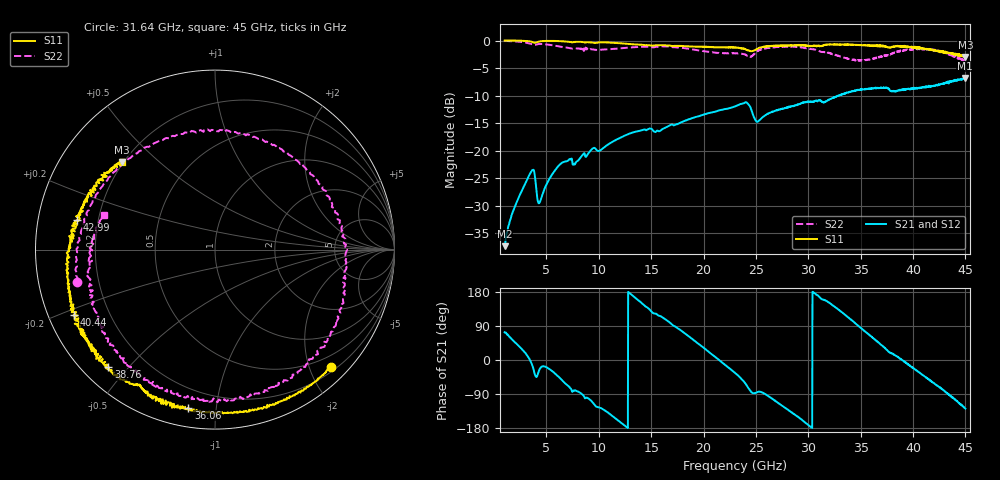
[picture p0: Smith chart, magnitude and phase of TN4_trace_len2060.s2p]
!Keysight Technologies,N5247B,MY61255062,A.19.80.06
!Date: Thursday, May 21, 2026 12:16:54
!Correction: S11(Cdelta 2-Port  )
!S21(Cdelta 2-Port  )
!S12(Cdelta 2-Port  )
!S22(Cdelta 2-Port  )
!S2P File: Measurements: S11, S21, S12, S22:
# Hz S  dB  R 50
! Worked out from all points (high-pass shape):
!   1601 points, 1 GHz to 45 GHz, reference 50 ohm
!   highest |S21| = -6.79 dB at 44.92 GHz (marker M1); lowest = -37.3 dB at 1 GHz (marker M2)
!   |S21| within 3 dB of the highest: 33.13929 GHz to 33.16426 GHz (24.97 MHz wide, 0.0753 % of centre); 33.19 GHz to end of sweep
!   lowest |S11| = -3.0 dB at 45 GHz (marker M3), VSWR 5.93, Z = 9.72 + j19.2 ohm
!   |S11| at or under -10 dB: nowhere
!   |S22| runs from -3.8 to 0.0 dB; largest |S21 - S12| = 0.014
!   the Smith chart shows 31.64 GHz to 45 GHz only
!   S11 on the Smith chart (normalised r, x): 31.64 GHz: 0.28, -2.36; 36.06 GHz: 0.10, -0.84; 38.76 GHz: 0.07, -0.44; 40.44 GHz: 0.08, -0.22; 42.99 GHz: 0.12, +0.10; 45 GHz: 0.19, +0.38
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1e9  0.04 -13.5  -37.34 73.2  -37.36 72.5  -0.03 -29.8
3.0075e9  -0.04 -40.8  -25.82 17.6  -25.83 17.7  -0.35 -88.4
5.3725e9  -0.04 -70.7  -24.82 -25.9  -24.83 -25.8  -0.78 -153.2
8.3425e9  -0.23 -109.3  -21.01 -89.0  -21.00 -88.9  -1.45 123.2
1.02125e10  -0.30 -132.3  -19.83 -127.1  -19.84 -127.1  -1.64 67.1
1.222e10  -0.50 -158.6  -17.49 -167.6  -17.49 -167.4  -1.37 5.8
1.5685e10  -0.84 158.4  -16.43 117.4  -16.44 117.4  -1.12 -90.7
1.9095e10  -1.09 112.7  -13.97 51.6  -13.97 51.6  -1.65 175.7
2.12125e10  -1.21 84.4  -12.85 5.9  -12.87 5.9  -2.21 110.2
2.3e10  -1.26 59.8  -11.96 -34.0  -11.97 -34.1  -2.30 51.2
2.586e10  -1.07 25.7  -13.61 -89.6  -13.61 -89.7  -1.44 -26.2
2.80875e10  -0.91 -4.1  -12.08 -132.1  -12.16 -131.9  -1.10 -81.1
3.03425e10  -1.04 -32.0  -11.05 -178.6  -11.09 -179.0  -1.52 -133.9
3.1635e10  -0.73 -45.4  -11.14 157.2  -11.13 156.9  -2.03 -166.9
3.411e10  -0.71 -76.5  -9.22 105.4  -9.27 105.5  -3.40 111.8
3.60625e10  -0.98 -99.5  -8.72 60.3  -8.74 60.3  -3.39 38.4
3.7685e10  -1.26 -118.7  -8.80 21.4  -8.87 21.5  -2.56 -12.3
3.87575e10  -1.08 -132.3  -9.03 3.3  -9.04 3.5  -1.84 -40.5
4.0435e10  -1.26 -155.2  -8.63 -29.3  -8.67 -29.3  -1.55 -80.4
4.29925e10  -2.07 168.0  -7.80 -81.6  -7.76 -81.3  -2.23 -140.2
4.49175e10  -2.84 137.3  -6.79 -126.3  -6.69 -126.3  -3.66 165.3
4.5e10  -2.96 136.6  -6.84 -128.2  -6.83 -128.4  -3.76 162.8
